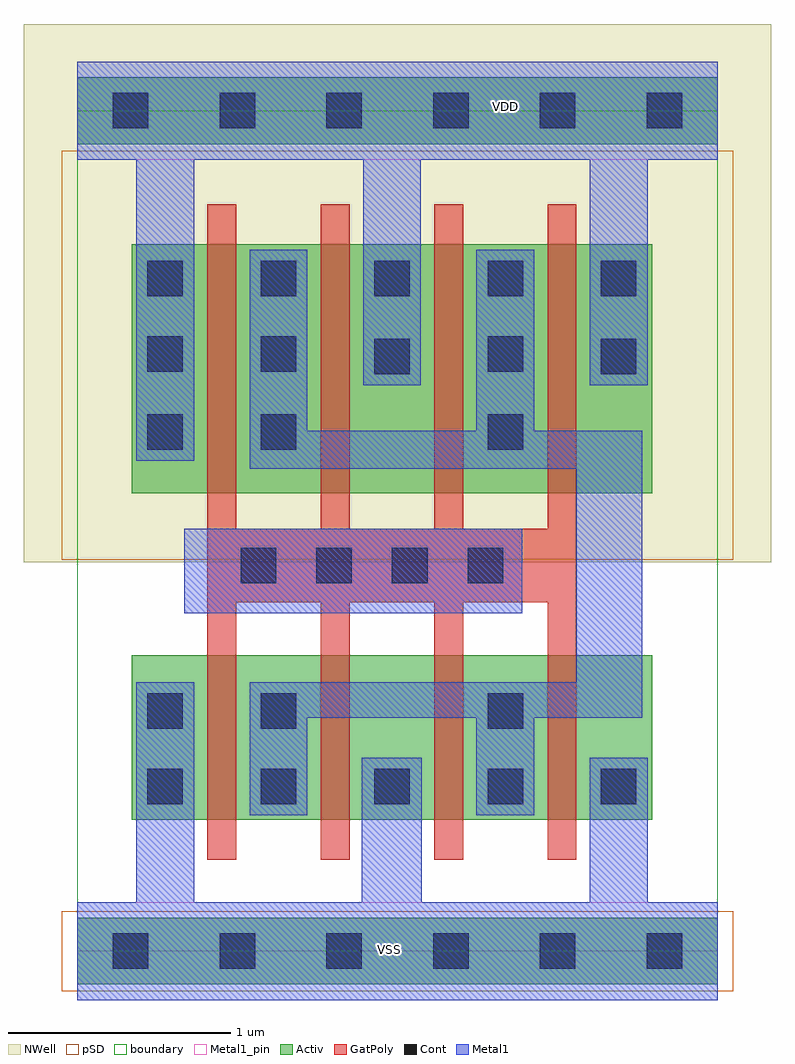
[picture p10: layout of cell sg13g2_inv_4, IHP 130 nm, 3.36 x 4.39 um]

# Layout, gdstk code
import gdstk
lib = gdstk.Library(unit=1e-6, precision=1e-09)
def R(c, l, rs):  # rectangles x0, y0, x1, y1
    for r in rs: c.add(gdstk.rectangle(r[:2], r[2:], *l))
def A(c, l, x, y, w, h, nx, ny, dx, dy):  # array of equal rectangles
    R(c, l, [(x+i*dx, y+j*dy, x+i*dx+w, y+j*dy+h) for i in range(nx) for j in range(ny)])
def P(c, l, *ps):  # polygons
    for p in ps: c.add(gdstk.Polygon(p, *l))
Activ = (1, 0)
GatPoly = (5, 0)
Cont = (6, 0)
Metal1 = (8, 0)
Metal1_pin = (8, 2)
pSD = (14, 0)
NWell = (31, 0)
boundary = (189, 4)

sg13g2_inv_4 = lib.new_cell('sg13g2_inv_4')
R(sg13g2_inv_4, Activ, [(-4.79,81.345,-1.91,81.645), (-4.545,82.085,-2.205,82.825), (-4.545,83.555,-2.205,84.675), (-4.79,85.125,-1.91,85.425)])
P(sg13g2_inv_4, GatPoly, [(-4.205,81.905),(-4.205,84.855),(-4.075,84.855),(-4.075,83.395),(-3.695,83.395),(-3.695,84.855),(-3.565,84.855),(-3.565,83.395),(-3.185,83.395),(-3.185,84.855),(-3.055,84.855),(-3.055,83.395),(-2.675,83.395),(-2.675,84.855),(-2.545,84.855),(-2.545,81.905),(-2.675,81.905),(-2.675,83.065),(-3.055,83.065),(-3.055,81.905),(-3.185,81.905),(-3.185,83.065),(-3.565,83.065),(-3.565,81.905),(-3.695,81.905),(-3.695,83.065),(-4.075,83.065),(-4.075,81.905)])
A(sg13g2_inv_4, Cont, -4.475, 82.155, 0.16, 0.16, 5, 2, 0.51, 2.285)
A(sg13g2_inv_4, Cont, -4.055, 83.15, 0.16, 0.16, 4, 1, 0.34, 0)
R(sg13g2_inv_4, Cont, [(-4.63,81.415,-4.47,81.575), (-4.63,81.415,-4.47,81.575), (-4.15,81.415,-3.99,81.575), (-4.15,81.415,-3.99,81.575), (-3.67,81.415,-3.51,81.575), (-3.67,81.415,-3.51,81.575), (-3.19,81.415,-3.03,81.575), (-3.19,81.415,-3.03,81.575), (-2.71,81.415,-2.55,81.575), (-2.71,81.415,-2.55,81.575), (-2.23,81.415,-2.07,81.575), (-2.23,81.415,-2.07,81.575), (-4.475,82.495,-4.315,82.655), (-3.965,82.495,-3.805,82.655), (-2.945,82.495,-2.785,82.655), (-4.475,83.75,-4.315,83.91), (-3.965,83.75,-3.805,83.91), (-2.945,83.75,-2.785,83.91), (-3.455,84.09,-3.295,84.25), (-2.435,84.09,-2.275,84.25), (-4.475,84.1,-4.315,84.26), (-3.965,84.1,-3.805,84.26), (-2.945,84.1,-2.785,84.26), (-4.63,85.195,-4.47,85.355), (-4.63,85.195,-4.47,85.355), (-4.15,85.195,-3.99,85.355), (-4.15,85.195,-3.99,85.355), (-3.67,85.195,-3.51,85.355), (-3.67,85.195,-3.51,85.355), (-3.19,85.195,-3.03,85.355), (-3.19,85.195,-3.03,85.355), (-2.71,85.195,-2.55,85.355), (-2.71,85.195,-2.55,85.355), (-2.23,85.195,-2.07,85.355), (-2.23,85.195,-2.07,85.355)])
R(sg13g2_inv_4, Metal1, [(-4.31,83.015,-2.79,83.395)])
P(sg13g2_inv_4, Metal1, [(-4.015,82.105),(-4.015,82.705),(-2.545,82.705),(-2.545,83.665),(-4.015,83.665),(-4.015,84.65),(-3.755,84.65),(-3.755,83.835),(-2.995,83.835),(-2.995,84.65),(-2.735,84.65),(-2.735,83.835),(-2.25,83.835),(-2.25,82.545),(-2.735,82.545),(-2.735,82.105),(-2.995,82.105),(-2.995,82.545),(-3.755,82.545),(-3.755,82.105)],
  [(-4.525,83.7),(-4.525,85.055),(-4.79,85.055),(-4.79,85.495),(-1.91,85.495),(-1.91,85.055),(-2.225,85.055),(-2.225,84.04),(-2.485,84.04),(-2.485,85.055),(-3.245,85.055),(-3.245,84.04),(-3.505,84.04),(-3.505,85.055),(-4.265,85.055),(-4.265,83.7)],
  [(-4.79,81.275),(-4.79,81.715),(-4.525,81.715),(-4.525,82.705),(-4.265,82.705),(-4.265,81.715),(-3.51,81.715),(-3.51,82.365),(-3.24,82.365),(-3.24,81.715),(-2.485,81.715),(-2.485,82.365),(-2.225,82.365),(-2.225,81.715),(-1.91,81.715),(-1.91,81.275)])
R(sg13g2_inv_4, Metal1_pin, [(-4.79,81.275,-1.91,81.715), (-4.79,85.055,-1.91,85.495)])
R(sg13g2_inv_4, pSD, [(-4.86,81.315,-1.84,81.675), (-4.86,83.255,-1.84,85.095)])
R(sg13g2_inv_4, NWell, [(-5.03,83.245,-1.67,85.665)])
R(sg13g2_inv_4, boundary, [(-4.79,81.495,-1.91,85.275)])
sg13g2_inv_4.add(gdstk.Label('VDD', (-2.865,85.295), layer=8, texttype=25))
sg13g2_inv_4.add(gdstk.Label('VSS', (-3.385,81.5), layer=8, texttype=25))

lib.write_gds('sg13g2_inv_4.gds')
